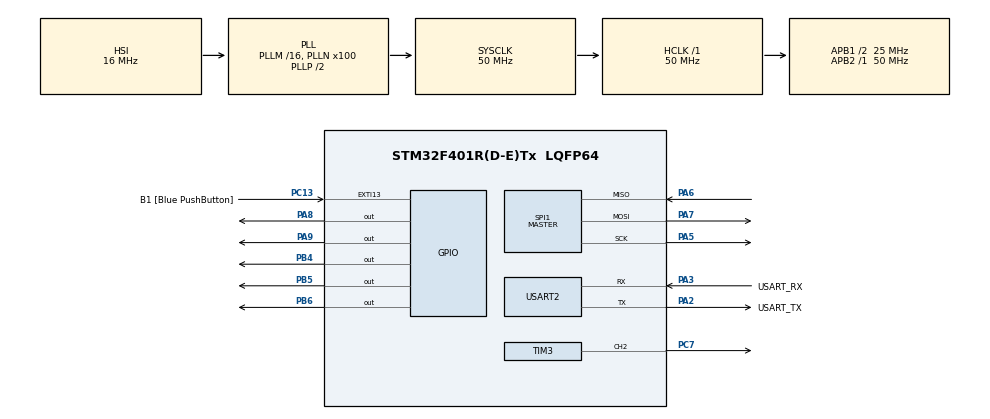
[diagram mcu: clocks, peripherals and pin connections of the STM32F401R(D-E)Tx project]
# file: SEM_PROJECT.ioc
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Mcu.Family=STM32F4
Mcu.Name=STM32F401R(D-E)Tx
Mcu.Package=LQFP64
NVIC.PriorityGroup=NVIC_PRIORITYGROUP_0
PA13.GPIO_Label=TMS
PA13.Mode=Serial_Wire
PA13.Signal=SYS_JTMS-SWDIO
PA14.GPIO_Label=TCK
PA14.Mode=Serial_Wire
PA14.Signal=SYS_JTCK-SWCLK
PA2.GPIO_Label=USART_TX
PA2.GPIO_Mode=GPIO_MODE_AF_PP
PA2.GPIO_PuPd=GPIO_NOPULL
PA2.GPIO_Speed=GPIO_SPEED_FREQ_LOW
PA2.Mode=Asynchronous
PA2.Signal=USART2_TX
PA3.GPIO_Label=USART_RX
PA3.GPIO_Mode=GPIO_MODE_AF_PP
PA3.GPIO_PuPd=GPIO_NOPULL
PA3.GPIO_Speed=GPIO_SPEED_FREQ_LOW
PA3.Mode=Asynchronous
PA3.Signal=USART2_RX
PA5.Mode=Full_Duplex_Master
PA5.Signal=SPI1_SCK
PA6.Mode=Full_Duplex_Master
PA6.Signal=SPI1_MISO
PA7.Mode=Full_Duplex_Master
PA7.Signal=SPI1_MOSI
PA8.GPIO_PuPd=GPIO_NOPULL
PA8.GPIO_Speed=GPIO_SPEED_FREQ_LOW
PA8.PinState=GPIO_PIN_RESET
PA8.Signal=GPIO_Output
PA9.Signal=GPIO_Output
PB3.GPIO_Label=SWO
PB3.Signal=SYS_JTDO-SWO
PB4.PinState=GPIO_PIN_RESET
PB4.Signal=GPIO_Output
PB5.PinState=GPIO_PIN_RESET
PB5.Signal=GPIO_Output
PB6.Signal=GPIO_Output
PC13-ANTI_TAMP.GPIO_Label=B1 [Blue PushButton]
PC13-ANTI_TAMP.GPIO_ModeDefaultEXTI=GPIO_MODE_IT_FALLING
PC13-ANTI_TAMP.GPIO_PuPd=GPIO_NOPULL
PC13-ANTI_TAMP.Signal=GPXTI13
PC14-OSC32_IN.Mode=LSE-External-Oscillator
PC14-OSC32_IN.Signal=RCC_OSC32_IN
PC15-OSC32_OUT.Mode=LSE-External-Oscillator
PC15-OSC32_OUT.Signal=RCC_OSC32_OUT
PC7.Signal=S_TIM3_CH2
PH0\ -\ OSC_IN.Mode=HSE-External-Clock-Source
PH0\ -\ OSC_IN.Signal=RCC_OSC_IN
PH1\ -\ OSC_OUT.Mode=HSE-External-Clock-Source
PH1\ -\ OSC_OUT.Signal=RCC_OSC_OUT
ProjectManager.HeapSize=0x200
ProjectManager.StackSize=0x400
ProjectManager.TargetToolchain=Makefile
RCC.48MHZClocksFreq_Value=14285714.285714285
RCC.AHBFreq_Value=50000000
RCC.APB1CLKDivider=RCC_HCLK_DIV2
RCC.APB1Freq_Value=25000000
RCC.APB1TimFreq_Value=50000000
RCC.APB2Freq_Value=50000000
RCC.APB2TimFreq_Value=50000000
RCC.CortexFreq_Value=50000000
RCC.HCLKFreq_Value=50000000
RCC.HSE_VALUE=8000000
RCC.HSI_VALUE=16000000
RCC.PLLN=100
RCC.PLLQ=7
RCC.SYSCLKFreq_VALUE=50000000
RCC.SYSCLKSource=RCC_SYSCLKSOURCE_PLLCLK
RCC.VCOOutputFreq_Value=100000000
SH.S_TIM3_CH2.0=TIM3_CH2,PWM Generation2 CH2
SPI1.BaudRatePrescaler=SPI_BAUDRATEPRESCALER_256
SPI1.CLKPhase=SPI_PHASE_2EDGE
SPI1.CLKPolarity=SPI_POLARITY_HIGH
SPI1.Direction=SPI_DIRECTION_2LINES
SPI1.Mode=SPI_MODE_MASTER
SPI1.VirtualType=VM_MASTER
TIM3.Channel-PWM\ Generation2\ CH2=TIM_CHANNEL_2
TIM3.Period=160
TIM3.Prescaler=390
TIM3.Pulse-PWM\ Generation2\ CH2=80
USART2.VirtualMode=VM_ASYNC
VP_TIM3_VS_ClockSourceINT.Mode=Internal
board=NUCLEO-F401RE

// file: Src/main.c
/**
  ******************************************************************************
  * @file           : main.c
  * @brief          : Main program body
  ******************************************************************************
  ** This notice applies to any and all portions of this file
  * that are not between comment pairs USER CODE BEGIN and
  * USER CODE END. Other portions of this file, whether
  * inserted by the user or by software development tools
  * are owned by their respective copyright owners.
  *
  * COPYRIGHT(c) 2019 STMicroelectronics
  *
  * Redistribution and use in source and binary forms, with or without modification,
  * are permitted provided that the following conditions are met:
  *   1. Redistributions of source code must retain the above copyright notice,
  *      this list of conditions and the following disclaimer.
  *   2. Redistributions in binary form must reproduce the above copyright notice,
  *      this list of conditions and the following disclaimer in the documentation
  *      and/or other materials provided with the distribution.
  *   3. Neither the name of STMicroelectronics nor the names of its contributors
  *      may be used to endorse or promote products derived from this software
  *      without specific prior written permission.
  *
  * THIS SOFTWARE IS PROVIDED BY THE COPYRIGHT HOLDERS AND CONTRIBUTORS "AS IS"
  * AND ANY EXPRESS OR IMPLIED WARRANTIES, INCLUDING, BUT NOT LIMITED TO, THE
  * IMPLIED WARRANTIES OF MERCHANTABILITY AND FITNESS FOR A PARTICULAR PURPOSE ARE
  * DISCLAIMED. IN NO EVENT SHALL THE COPYRIGHT HOLDER OR CONTRIBUTORS BE LIABLE
  * FOR ANY DIRECT, INDIRECT, INCIDENTAL, SPECIAL, EXEMPLARY, OR CONSEQUENTIAL
  * DAMAGES (INCLUDING, BUT NOT LIMITED TO, PROCUREMENT OF SUBSTITUTE GOODS OR
  * SERVICES; LOSS OF USE, DATA, OR PROFITS; OR BUSINESS INTERRUPTION) HOWEVER
  * CAUSED AND ON ANY THEORY OF LIABILITY, WHETHER IN CONTRACT, STRICT LIABILITY,
  * OR TORT (INCLUDING NEGLIGENCE OR OTHERWISE) ARISING IN ANY WAY OUT OF THE USE
  * OF THIS SOFTWARE, EVEN IF ADVISED OF THE POSSIBILITY OF SUCH DAMAGE.
  *
  ******************************************************************************
  */
#include "main.h"
#include "stm32f4xx_hal.h"

/* USER CODE BEGIN Includes */
#include <string>
#include <vector>
#include <bitset>
using namespace std;

#define CS_ENABLE MCP23017::Write(MCP23017::PORT::B, MCP23017::REG::GPIO, 0b00000000)
#define CS_DISABLE MCP23017::Write(MCP23017::PORT::B, MCP23017::REG::GPIO, 0b00000010)

/* USER CODE END Includes */

SPI_HandleTypeDef hspi1;

TIM_HandleTypeDef htim3;

UART_HandleTypeDef huart2;

/* USER CODE BEGIN PV */
/* Private variables ---------------------------------------------------------*/

/* USER CODE END PV */

void SystemClock_Config(void);
static void MX_GPIO_Init(void);
static void MX_USART2_UART_Init(void);
static void MX_TIM3_Init(void);
static void MX_SPI1_Init(void);

void HAL_TIM_MspPostInit(TIM_HandleTypeDef *htim);

/* USER CODE BEGIN PFP */
/* Private function prototypes -----------------------------------------------*/

/* USER CODE END PFP */

/* USER CODE BEGIN 0 */

int UART_send(string message) {
    message += "\n\r";
    char buffer[1024];
    message.copy(buffer, message.size() + 1);
    buffer[message.size()] = '\0';
    HAL_UART_Transmit(&huart2, (uint8_t *)buffer, message.size(), HAL_MAX_DELAY);

    return 0;
}

uint16_t Status()
{

    uint8_t transmit [3] = {0b11010000, 0x00, 0x00};
    uint8_t receive  [3] = {0x00, 0x00, 0x00};

    // Status GET
    HAL_GPIO_WritePin(GPIOB, GPIO_PIN_6, GPIO_PIN_RESET);
    HAL_SPI_Transmit(&hspi1, (uint8_t *)transmit, 1, 10000);
    HAL_GPIO_WritePin(GPIOB, GPIO_PIN_6, GPIO_PIN_SET);

    HAL_Delay(1);

    HAL_GPIO_WritePin(GPIOB, GPIO_PIN_6, GPIO_PIN_RESET);
    HAL_SPI_Receive (&hspi1, (uint8_t *)receive , 1, 10000);
    HAL_GPIO_WritePin(GPIOB, GPIO_PIN_6, GPIO_PIN_SET);

    HAL_Delay(1);

    HAL_GPIO_WritePin(GPIOB, GPIO_PIN_6, GPIO_PIN_RESET);
    HAL_SPI_Receive (&hspi1, (uint8_t *)receive+1 , 1, 10000);
    HAL_GPIO_WritePin(GPIOB, GPIO_PIN_6, GPIO_PIN_SET);

    return receive[0] << 8 |  receive[1];
}

void sendEnable() {
    uint8_t transmit [3] = {0b10111000, 0x00, 0x00};

    // Status GET
    HAL_GPIO_WritePin(GPIOB, GPIO_PIN_6, GPIO_PIN_RESET);
    HAL_SPI_Transmit(&hspi1, (uint8_t *)transmit, 1, 10000);
    HAL_GPIO_WritePin(GPIOB, GPIO_PIN_6, GPIO_PIN_SET);
}

uint16_t getDriverConfig() {
    uint8_t transmit [3] = {0b00111000, 0x00, 0x00};
    uint8_t receive  [3] = {0x00, 0x00, 0x00};

    // SEND PARAM PARAMETER
    HAL_GPIO_WritePin(GPIOB, GPIO_PIN_6, GPIO_PIN_RESET);
    HAL_SPI_Transmit(&hspi1, (uint8_t *)transmit, 1, 10000);
    HAL_GPIO_WritePin(GPIOB, GPIO_PIN_6, GPIO_PIN_SET);

    HAL_Delay(1);

    HAL_GPIO_WritePin(GPIOB, GPIO_PIN_6, GPIO_PIN_RESET);
    HAL_SPI_Receive (&hspi1, (uint8_t *)receive , 1, 10000);
    HAL_GPIO_WritePin(GPIOB, GPIO_PIN_6, GPIO_PIN_SET);

    HAL_Delay(1);

    HAL_GPIO_WritePin(GPIOB, GPIO_PIN_6, GPIO_PIN_RESET);
    HAL_SPI_Receive (&hspi1, (uint8_t *)receive+1 , 1, 10000);
    HAL_GPIO_WritePin(GPIOB, GPIO_PIN_6, GPIO_PIN_SET);

    return receive[0] << 8 |  receive[1];
}

struct DRIVER_CONFIG {
    uint8_t OSC_SEL : 3;
    uint8_t EXT_CLK : 1;
    uint8_t padding2 : 1;
    uint8_t EN_TQREG : 1;
    uint8_t RESERVED : 1;
    uint8_t OC_SD : 1;
    uint8_t POW_SR : 2;
    uint8_t TOFF : 5;
    uint8_t padding : 1;
} __attribute__((packed));

string driverConfigMessage() {
    uint16_t config = getDriverConfig();
    struct DRIVER_CONFIG *c = (DRIVER_CONFIG *)(&config);

    string report;
    report += "Driver config\n\r";
    report += "padding: " + std::to_string(c->padding) + "\n\r";
    report += "TOFF: " + std::to_string(c->TOFF) + "\n\r";
    report += "POW_SR: " + std::to_string(c->POW_SR) + "\n\r";
    report += "OC_SD: " + std::to_string(c->OC_SD) + "\n\r";
    report += "RESERVED: " + std::to_string(c->RESERVED) + "\n\r";
    report += "EN_TQREG: " + std::to_string(c->EN_TQREG) + "\n\r";
    report += "padding2: " + std::to_string(c->padding2) + "\n\r";
    report += "EXT_CLK: " + std::to_string(c->EXT_CLK) + "\n\r";
    report += "OSC_SEL: " + std::to_string(c->OSC_SEL) + "\n\r";

    return report;
}

uint32_t getDriverABS_POS() {
    uint8_t transmit [3] = {0b00100001, 0x00, 0x00};
    uint8_t receive  [3] = {0x00, 0x00, 0x00};

    // SEND PARAM PARAMETER
    HAL_GPIO_WritePin(GPIOB, GPIO_PIN_6, GPIO_PIN_RESET);
    HAL_SPI_Transmit(&hspi1, (uint8_t *)transmit, 1, 10000);
    HAL_GPIO_WritePin(GPIOB, GPIO_PIN_6, GPIO_PIN_SET);

    HAL_Delay(1);

    HAL_GPIO_WritePin(GPIOB, GPIO_PIN_6, GPIO_PIN_RESET);
    HAL_SPI_Receive (&hspi1, (uint8_t *)receive , 1, 10000);
    HAL_GPIO_WritePin(GPIOB, GPIO_PIN_6, GPIO_PIN_SET);

    HAL_Delay(1);

    HAL_GPIO_WritePin(GPIOB, GPIO_PIN_6, GPIO_PIN_RESET);
    HAL_SPI_Receive (&hspi1, (uint8_t *)receive+1 , 1, 10000);
    HAL_GPIO_WritePin(GPIOB, GPIO_PIN_6, GPIO_PIN_SET);

    HAL_Delay(1);

    HAL_GPIO_WritePin(GPIOB, GPIO_PIN_6, GPIO_PIN_RESET);
    HAL_SPI_Receive (&hspi1, (uint8_t *)receive+2 , 1, 10000);
    HAL_GPIO_WritePin(GPIOB, GPIO_PIN_6, GPIO_PIN_SET);

    return receive[0] << 16 |  receive[1] << 8 | receive[2];
}

string getDriverABS_POS_Message() {
    uint32_t abs_pos = 0;
    abs_pos = getDriverABS_POS();
    return "ABS_POS: "s + std::to_string(abs_pos);
}

uint8_t getStepMode() {
    uint8_t transmit [3] = {0b00110110, 0x00, 0x00};
    uint8_t receive  [3] = {0x00, 0x00, 0x00};

    HAL_GPIO_WritePin(GPIOB, GPIO_PIN_6, GPIO_PIN_RESET);
    HAL_SPI_Transmit(&hspi1, (uint8_t *)transmit, 1, 10000);
    HAL_GPIO_WritePin(GPIOB, GPIO_PIN_6, GPIO_PIN_SET);

    HAL_Delay(1);

    HAL_GPIO_WritePin(GPIOB, GPIO_PIN_6, GPIO_PIN_RESET);
    HAL_SPI_Receive (&hspi1, (uint8_t *)receive , 1, 10000);
    HAL_GPIO_WritePin(GPIOB, GPIO_PIN_6, GPIO_PIN_SET);

    return receive[0];
}

struct STEP_MODE_REGISTER {
    uint8_t STEP_SEL : 3;
    uint8_t padding2 : 1;
    uint8_t SYNC_SEL : 3;
    uint8_t padding : 1;
} __attribute__((packed));

string getStepMode_Message() {
    uint8_t stepMode = getStepMode();
    struct STEP_MODE_REGISTER *smr = (struct STEP_MODE_REGISTER *)(&stepMode);

    string r;

    r += "STEP_MODE_REGISTER: ";
    r += "STEP_SEL: " + std::to_string((int)smr->STEP_SEL);
    r += "SYNC_SEL: " + std::to_string((int)smr->SYNC_SEL);

    return r;
}
/* USER CODE END 0 */

int main(void)
{

  /* MCU Configuration----------------------------------------------------------*/

  /* Reset of all peripherals, Initializes the Flash interface and the Systick. */
  HAL_Init();

  /* Configure the system clock */
  SystemClock_Config();

  /* Initialize all configured peripherals */
  MX_GPIO_Init();
  MX_USART2_UART_Init();
  MX_TIM3_Init();
  MX_SPI1_Init();
  /* USER CODE BEGIN 2 */

  HAL_GPIO_WritePin(GPIOA, GPIO_PIN_9, GPIO_PIN_SET);

  HAL_TIM_Base_Start(&htim3);
  HAL_TIM_PWM_Start(&htim3, TIM_CHANNEL_2);

  sendEnable();
  /* USER CODE END 2 */

  /* Infinite loop */
  /* USER CODE BEGIN WHILE */
  while (1)
  {
    HAL_Delay(1000);
    // UART_send("Status: " + std::to_string(Status()));
    // UART_send(driverConfigMessage());
    // UART_send(getDriverABS_POS_Message());
    // UART_send(getStepMode_Message());
    // UART_send(getEL_POSTION_Message());

  /* USER CODE END WHILE */

  }

}

void SystemClock_Config(void)
{

  RCC_OscInitTypeDef RCC_OscInitStruct;
  RCC_ClkInitTypeDef RCC_ClkInitStruct;

    /**Configure the main internal regulator output voltage
    */
  __HAL_RCC_PWR_CLK_ENABLE();

  __HAL_PWR_VOLTAGESCALING_CONFIG(PWR_REGULATOR_VOLTAGE_SCALE2);

    /**Initializes the CPU, AHB and APB busses clocks
    */
  RCC_OscInitStruct.OscillatorType = RCC_OSCILLATORTYPE_HSI;
  RCC_OscInitStruct.HSIState = RCC_HSI_ON;
  RCC_OscInitStruct.HSICalibrationValue = 16;
  RCC_OscInitStruct.PLL.PLLState = RCC_PLL_ON;
  RCC_OscInitStruct.PLL.PLLSource = RCC_PLLSOURCE_HSI;
  RCC_OscInitStruct.PLL.PLLM = 16;
  RCC_OscInitStruct.PLL.PLLN = 100;
  RCC_OscInitStruct.PLL.PLLP = RCC_PLLP_DIV2;
  RCC_OscInitStruct.PLL.PLLQ = 7;
  if (HAL_RCC_OscConfig(&RCC_OscInitStruct) != HAL_OK)
  {
    _Error_Handler(__FILE__, __LINE__);
  }

    /**Initializes the CPU, AHB and APB busses clocks
    */
  RCC_ClkInitStruct.ClockType = RCC_CLOCKTYPE_HCLK|RCC_CLOCKTYPE_SYSCLK
                              |RCC_CLOCKTYPE_PCLK1|RCC_CLOCKTYPE_PCLK2;
  RCC_ClkInitStruct.SYSCLKSource = RCC_SYSCLKSOURCE_PLLCLK;
  RCC_ClkInitStruct.AHBCLKDivider = RCC_SYSCLK_DIV1;
  RCC_ClkInitStruct.APB1CLKDivider = RCC_HCLK_DIV2;
  RCC_ClkInitStruct.APB2CLKDivider = RCC_HCLK_DIV1;

  if (HAL_RCC_ClockConfig(&RCC_ClkInitStruct, FLASH_LATENCY_1) != HAL_OK)
  {
    _Error_Handler(__FILE__, __LINE__);
  }

    /**Configure the Systick interrupt time
    */
  HAL_SYSTICK_Config(HAL_RCC_GetHCLKFreq()/1000);

    /**Configure the Systick
    */
  HAL_SYSTICK_CLKSourceConfig(SYSTICK_CLKSOURCE_HCLK);

  /* SysTick_IRQn interrupt configuration */
  HAL_NVIC_SetPriority(SysTick_IRQn, 0, 0);
}

/* SPI1 init function */
static void MX_SPI1_Init(void)
{

  /* SPI1 parameter configuration*/
  hspi1.Instance = SPI1;
  hspi1.Init.Mode = SPI_MODE_MASTER;
  hspi1.Init.Direction = SPI_DIRECTION_2LINES;
  hspi1.Init.DataSize = SPI_DATASIZE_8BIT;
  hspi1.Init.CLKPolarity = SPI_POLARITY_HIGH;
  hspi1.Init.CLKPhase = SPI_PHASE_2EDGE;
  hspi1.Init.NSS = SPI_NSS_SOFT;
  hspi1.Init.BaudRatePrescaler = SPI_BAUDRATEPRESCALER_256;
  hspi1.Init.FirstBit = SPI_FIRSTBIT_MSB;
  hspi1.Init.TIMode = SPI_TIMODE_DISABLE;
  hspi1.Init.CRCCalculation = SPI_CRCCALCULATION_DISABLE;
  hspi1.Init.CRCPolynomial = 10;
  if (HAL_SPI_Init(&hspi1) != HAL_OK)
  {
    _Error_Handler(__FILE__, __LINE__);
  }

}

/* TIM3 init function */
static void MX_TIM3_Init(void)
{

  TIM_ClockConfigTypeDef sClockSourceConfig;
  TIM_MasterConfigTypeDef sMasterConfig;
  TIM_OC_InitTypeDef sConfigOC;

  htim3.Instance = TIM3;
  htim3.Init.Prescaler = 390;
  htim3.Init.CounterMode = TIM_COUNTERMODE_UP;
  htim3.Init.Period = 160;
  htim3.Init.ClockDivision = TIM_CLOCKDIVISION_DIV1;
  if (HAL_TIM_Base_Init(&htim3) != HAL_OK)
  {
    _Error_Handler(__FILE__, __LINE__);
  }

  sClockSourceConfig.ClockSource = TIM_CLOCKSOURCE_INTERNAL;
  if (HAL_TIM_ConfigClockSource(&htim3, &sClockSourceConfig) != HAL_OK)
  {
    _Error_Handler(__FILE__, __LINE__);
  }

  if (HAL_TIM_PWM_Init(&htim3) != HAL_OK)
  {
    _Error_Handler(__FILE__, __LINE__);
  }

  sMasterConfig.MasterOutputTrigger = TIM_TRGO_RESET;
  sMasterConfig.MasterSlaveMode = TIM_MASTERSLAVEMODE_DISABLE;
  if (HAL_TIMEx_MasterConfigSynchronization(&htim3, &sMasterConfig) != HAL_OK)
  {
    _Error_Handler(__FILE__, __LINE__);
  }

  sConfigOC.OCMode = TIM_OCMODE_PWM1;
  sConfigOC.Pulse = 80;
  sConfigOC.OCPolarity = TIM_OCPOLARITY_HIGH;
  sConfigOC.OCFastMode = TIM_OCFAST_DISABLE;
  if (HAL_TIM_PWM_ConfigChannel(&htim3, &sConfigOC, TIM_CHANNEL_2) != HAL_OK)
  {
    _Error_Handler(__FILE__, __LINE__);
  }

  HAL_TIM_MspPostInit(&htim3);

}

/* USART2 init function */
static void MX_USART2_UART_Init(void)
{

  huart2.Instance = USART2;
  huart2.Init.BaudRate = 115200;
  huart2.Init.WordLength = UART_WORDLENGTH_8B;
  huart2.Init.StopBits = UART_STOPBITS_1;
  huart2.Init.Parity = UART_PARITY_NONE;
  huart2.Init.Mode = UART_MODE_TX_RX;
  huart2.Init.HwFlowCtl = UART_HWCONTROL_NONE;
  huart2.Init.OverSampling = UART_OVERSAMPLING_16;
  if (HAL_UART_Init(&huart2) != HAL_OK)
  {
    _Error_Handler(__FILE__, __LINE__);
  }

}

/** Configure pins as
        * Analog
        * Input
        * Output
        * EVENT_OUT
        * EXTI
*/
static void MX_GPIO_Init(void)
{

  GPIO_InitTypeDef GPIO_InitStruct;

  /* GPIO Ports Clock Enable */
  __HAL_RCC_GPIOC_CLK_ENABLE();
  __HAL_RCC_GPIOH_CLK_ENABLE();
  __HAL_RCC_GPIOA_CLK_ENABLE();
  __HAL_RCC_GPIOB_CLK_ENABLE();

  /*Configure GPIO pin Output Level */
  HAL_GPIO_WritePin(GPIOA, GPIO_PIN_8|GPIO_PIN_9, GPIO_PIN_RESET);

  /*Configure GPIO pin Output Level */
  HAL_GPIO_WritePin(GPIOB, GPIO_PIN_4|GPIO_PIN_5|GPIO_PIN_6, GPIO_PIN_RESET);

  /*Configure GPIO pin : B1_Pin */
  GPIO_InitStruct.Pin = B1_Pin;
  GPIO_InitStruct.Mode = GPIO_MODE_IT_FALLING;
  GPIO_InitStruct.Pull = GPIO_NOPULL;
  HAL_GPIO_Init(B1_GPIO_Port, &GPIO_InitStruct);

  /*Configure GPIO pins : PA8 PA9 */
  GPIO_InitStruct.Pin = GPIO_PIN_8|GPIO_PIN_9;
  GPIO_InitStruct.Mode = GPIO_MODE_OUTPUT_PP;
  GPIO_InitStruct.Pull = GPIO_NOPULL;
  GPIO_InitStruct.Speed = GPIO_SPEED_FREQ_LOW;
  HAL_GPIO_Init(GPIOA, &GPIO_InitStruct);

  /*Configure GPIO pins : PB4 PB5 PB6 */
  GPIO_InitStruct.Pin = GPIO_PIN_4|GPIO_PIN_5|GPIO_PIN_6;
  GPIO_InitStruct.Mode = GPIO_MODE_OUTPUT_PP;
  GPIO_InitStruct.Pull = GPIO_NOPULL;
  GPIO_InitStruct.Speed = GPIO_SPEED_FREQ_LOW;
  HAL_GPIO_Init(GPIOB, &GPIO_InitStruct);

}

void _Error_Handler(char *file, int line)
{
  while(1)
  {
  }
}

/************************ (C) COPYRIGHT STMicroelectronics *****END OF FILE****/
